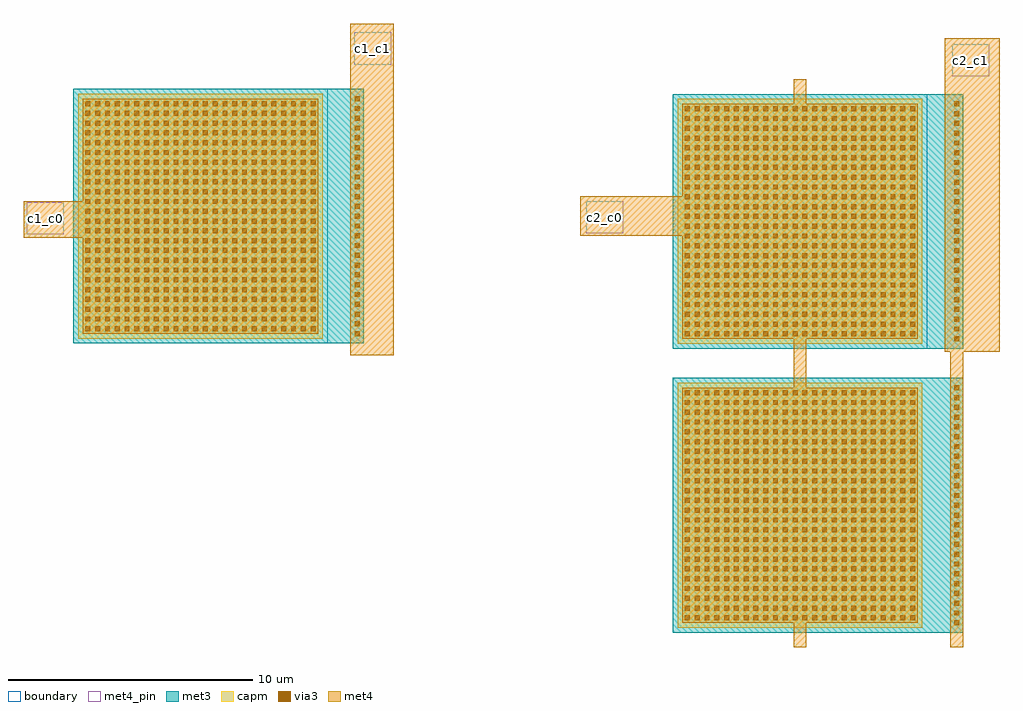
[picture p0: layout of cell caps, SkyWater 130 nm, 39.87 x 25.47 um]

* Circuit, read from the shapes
.subckt caps c1_c0 c1_c1 c2_c0 c2_c1
XC1 c1_c0 c1_c1 sky130_fd_pr__cap_mim_m3_1 w=10 l=10
XC2 c2_c0 c2_c1 sky130_fd_pr__cap_mim_m3_1 w=10 l=10 m=2
.ends

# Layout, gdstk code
import gdstk
lib = gdstk.Library(unit=1e-6, precision=1e-09)
def R(c, l, rs):  # rectangles x0, y0, x1, y1
    for r in rs: c.add(gdstk.rectangle(r[:2], r[2:], *l))
def A(c, l, x, y, w, h, nx, ny, dx, dy):  # array of equal rectangles
    R(c, l, [(x+i*dx, y+j*dy, x+i*dx+w, y+j*dy+h) for i in range(nx) for j in range(ny)])
met3 = (70, 20)
via3 = (70, 44)
met4_pin = (71, 16)
met4 = (71, 20)
capm = (89, 44)
boundary = (235, 4)

sky130_fd_pr__cap_mim_m3 = lib.new_cell('sky130_fd_pr__cap_mim_m3_1_4DGTN9')
R(sky130_fd_pr__cap_mim_m3, met3, [(-5.93,-11,5.93,-0.6), (-5.93,0.6,5.93,11)])
A(sky130_fd_pr__cap_mim_m3, via3, 5.57, -10.7, 0.2, 0.2, 1, 25, 0, 0.4)
A(sky130_fd_pr__cap_mim_m3, via3, -5.43, -10.5, 0.2, 0.2, 24, 24, 0.4, 0.4)
A(sky130_fd_pr__cap_mim_m3, via3, 5.57, 0.9, 0.2, 0.2, 1, 25, 0, 0.4)
A(sky130_fd_pr__cap_mim_m3, via3, -5.43, 1.1, 0.2, 0.2, 24, 24, 0.4, 0.4)
R(sky130_fd_pr__cap_mim_m3, met4, [(-0.99,-11.6,-0.47,-10.605), (5.41,-11.6,5.93,11.6), (-5.535,-10.605,4.075,-0.995), (-0.99,-0.995,-0.47,0.995), (-5.535,0.995,4.075,10.605), (-0.99,10.605,-0.47,11.6)])
R(sky130_fd_pr__cap_mim_m3, capm, [(-5.73,-10.8,4.27,-0.8), (-5.73,0.8,4.27,10.8)])
R(sky130_fd_pr__cap_mim_m3, boundary, [(-5.93,0.6,4.47,11)])

c_sky130_fd_pr__cap_mim_m3 = lib.new_cell('sky130_fd_pr__cap_mim_m3_1_4PHTN9')
R(c_sky130_fd_pr__cap_mim_m3, met3, [(-5.93,-5.2,5.93,5.2)])
A(c_sky130_fd_pr__cap_mim_m3, via3, 5.57, -4.9, 0.2, 0.2, 1, 25, 0, 0.4)
A(c_sky130_fd_pr__cap_mim_m3, via3, -5.43, -4.7, 0.2, 0.2, 24, 24, 0.4, 0.4)
R(c_sky130_fd_pr__cap_mim_m3, met4, [(5.43,-5.14,5.91,5.14), (-5.535,-4.805,4.075,4.805)])
R(c_sky130_fd_pr__cap_mim_m3, capm, [(-5.73,-5,4.27,5)])
R(c_sky130_fd_pr__cap_mim_m3, boundary, [(-5.93,-5.2,4.47,5.2)])

caps = lib.new_cell('caps')
R(caps, met4_pin, [(-14.52,7.67,-13.01,8.97), (8.33,7.71,9.84,9.01), (23.28,14.13,24.79,15.43), (-1.14,14.59,0.36,15.92)])
R(caps, met4, [(-1.32,2.72,0.47,16.27), (22.97,2.87,25.21,15.68), (-14.66,7.53,-7.22,9.01), (8.09,7.6,17,9.22)])
caps.add(gdstk.Reference(sky130_fd_pr__cap_mim_m3, (17.79,2.4)))
caps.add(gdstk.Reference(c_sky130_fd_pr__cap_mim_m3, (-6.7,8.41)))
caps.add(gdstk.Label('c1_c1', (-0.39,15.255), layer=71, texttype=5))
caps.add(gdstk.Label('c1_c0', (-13.765,8.32), layer=71, texttype=5))
caps.add(gdstk.Label('c2_c0', (9.085,8.36), layer=71, texttype=5))
caps.add(gdstk.Label('c2_c1', (24.035,14.78), layer=71, texttype=5))

lib.write_gds('caps.gds')
